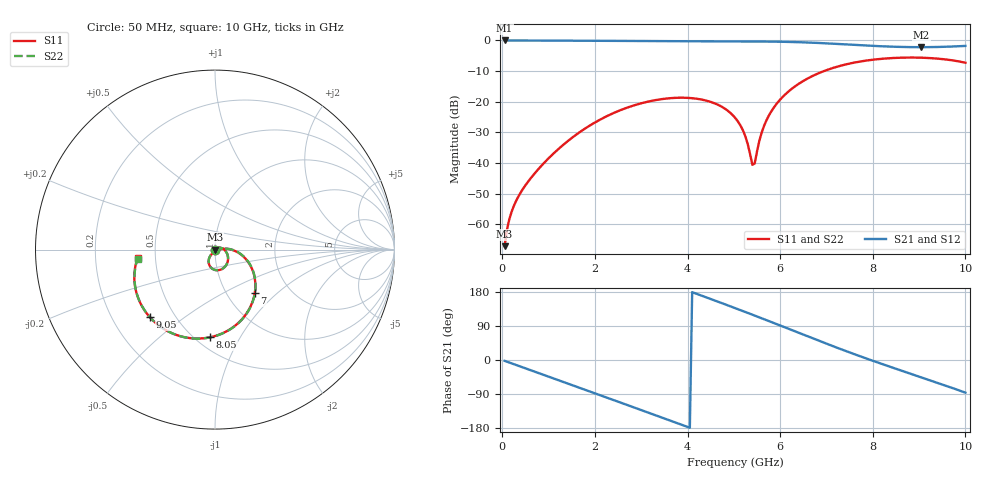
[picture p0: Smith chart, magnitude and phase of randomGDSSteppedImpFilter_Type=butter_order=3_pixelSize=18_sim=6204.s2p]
! freq	dB(S11)	phase(S11)	dB(S12)	phase(S12)
!  dB(S21)	phase(S21)	dB(S22)	phase(S22)
!S-par simulation data
#  GHz  S  DB  R 50
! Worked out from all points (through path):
!   200 points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, 50 MHz to 10 GHz, reference 50 ohm
!   highest |S21| = 0.00 dB at 50 MHz (marker M1); lowest = -2.2 dB at 9.05 GHz (marker M2)
!   group delay of S21, straight-line fit = 125 ps
!   lowest |S11| = -67.1 dB at 50 MHz (marker M3), VSWR 1.00, Z = 50 + j0.0236 ohm
!   |S11| at or under -10 dB: start of sweep to 6.945 GHz
!   |S22| runs from -67.1 to -5.6 dB; largest |S21 - S12| = 0
!   S11 on the Smith chart (normalised r, x): 50 MHz: 1.00, +0.00; 7 GHz: 1.34, -0.73; 8.05 GHz: 0.59, -0.75; 9.05 GHz: 0.36, -0.38; 10 GHz: 0.40, -0.05
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0.05  -67.14 32.5  -0.00 -2.2  -0.00 -2.2  -67.12 32.5
0.1  -61.83 56.7  -0.01 -4.4  -0.01 -4.4  -61.83 56.7
0.2  -55.96 68.9  -0.02 -8.8  -0.02 -8.8  -55.96 68.9
0.45  -48.36 69.4  -0.03 -19.8  -0.03 -19.8  -48.37 69.4
1.15  -36.28 42.8  -0.06 -50.5  -0.06 -50.5  -36.28 42.8
1.75  -29.12 15.9  -0.09 -76.9  -0.09 -76.9  -29.12 15.9
2.55  -22.76 -20.2  -0.15 -112.2  -0.15 -112.2  -22.76 -20.2
3.4  -19.24 -57.9  -0.24 -149.8  -0.24 -149.8  -19.24 -58.0
4.2  -19.02 -92.5  -0.30 174.5  -0.30 174.5  -19.03 -92.7
4.7  -21.31 -113.2  -0.32 152.0  -0.32 152.0  -21.32 -113.6
5.05  -25.66 -125.2  -0.32 135.9  -0.32 135.9  -25.68 -126.0
5.25  -31.36 -125.3  -0.33 126.6  -0.33 126.6  -31.45 -126.9
5.4  -40.57 -81.5  -0.33 119.6  -0.33 119.6  -41.36 -83.3
5.45  -40.17 -35.7  -0.34 117.3  -0.34 117.3  -40.88 -32.9
5.65  -27.97 5.4  -0.36 107.8  -0.36 107.8  -28.01 6.9
5.85  -22.19 2.1  -0.39 98.3  -0.39 98.3  -22.20 2.9
6.7  -11.60 -33.8  -0.73 57.3  -0.73 57.3  -11.59 -33.4
7  -9.69 -47.4  -0.95 43.0  -0.95 43.0  -9.69 -47.1
8.05  -6.20 -93.4  -1.81 -4.2  -1.81 -4.2  -6.20 -93.1
8.35  -5.81 -105.8  -2.00 -16.9  -2.00 -16.9  -5.81 -105.5
9.05  -5.63 -134.0  -2.20 -45.7  -2.20 -45.7  -5.63 -133.7
10  -7.27 -173.9  -1.78 -86.3  -1.78 -86.3  -7.27 -173.4
